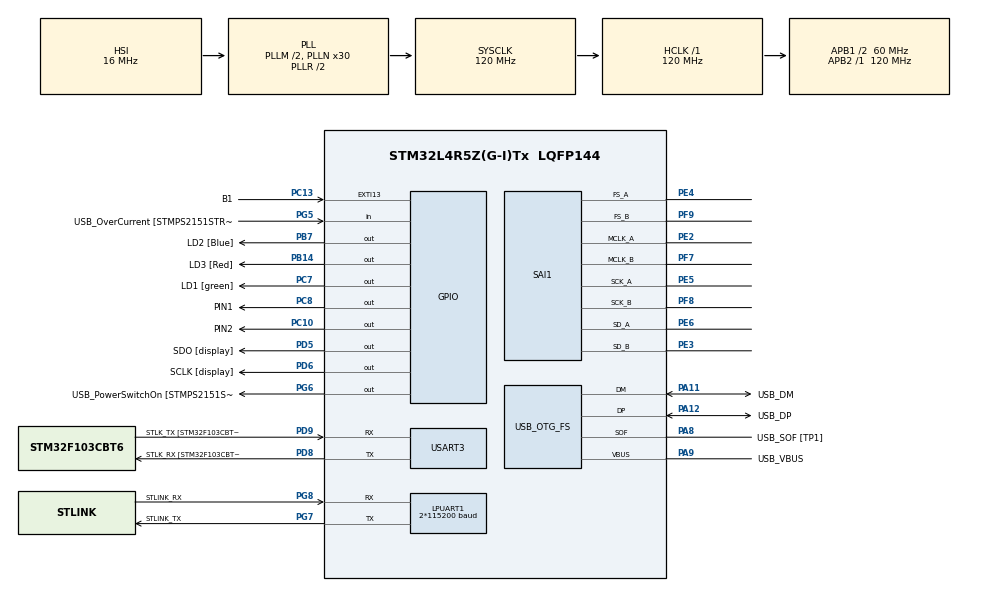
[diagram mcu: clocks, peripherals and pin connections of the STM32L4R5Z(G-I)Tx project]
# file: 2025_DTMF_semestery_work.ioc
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Dma.LPUART1_RX.0.Direction=DMA_PERIPH_TO_MEMORY
Dma.LPUART1_RX.0.EventEnable=DISABLE
Dma.LPUART1_RX.0.Instance=DMA2_Channel1
Dma.LPUART1_RX.0.MemDataAlignment=DMA_MDATAALIGN_BYTE
Dma.LPUART1_RX.0.MemInc=DMA_MINC_ENABLE
Dma.LPUART1_RX.0.Mode=DMA_NORMAL
Dma.LPUART1_RX.0.PeriphDataAlignment=DMA_PDATAALIGN_BYTE
Dma.LPUART1_RX.0.PeriphInc=DMA_PINC_DISABLE
Dma.LPUART1_RX.0.Polarity=HAL_DMAMUX_REQUEST_GEN_RISING
Dma.LPUART1_RX.0.Priority=DMA_PRIORITY_LOW
Dma.LPUART1_RX.0.RequestNumber=1
Dma.LPUART1_RX.0.SignalID=NONE
Dma.LPUART1_RX.0.SyncEnable=DISABLE
Dma.LPUART1_RX.0.SyncPolarity=HAL_DMAMUX_SYNC_NO_EVENT
Dma.LPUART1_RX.0.SyncRequestNumber=1
Dma.LPUART1_RX.0.SyncSignalID=NONE
Dma.LPUART1_TX.1.Direction=DMA_MEMORY_TO_PERIPH
Dma.LPUART1_TX.1.EventEnable=DISABLE
Dma.LPUART1_TX.1.Instance=DMA2_Channel2
Dma.LPUART1_TX.1.MemDataAlignment=DMA_MDATAALIGN_BYTE
Dma.LPUART1_TX.1.MemInc=DMA_MINC_ENABLE
Dma.LPUART1_TX.1.Mode=DMA_NORMAL
Dma.LPUART1_TX.1.PeriphDataAlignment=DMA_PDATAALIGN_BYTE
Dma.LPUART1_TX.1.PeriphInc=DMA_PINC_DISABLE
Dma.LPUART1_TX.1.Polarity=HAL_DMAMUX_REQUEST_GEN_RISING
Dma.LPUART1_TX.1.Priority=DMA_PRIORITY_LOW
Dma.LPUART1_TX.1.RequestNumber=1
Dma.LPUART1_TX.1.SignalID=NONE
Dma.LPUART1_TX.1.SyncEnable=DISABLE
Dma.LPUART1_TX.1.SyncPolarity=HAL_DMAMUX_SYNC_NO_EVENT
Dma.LPUART1_TX.1.SyncRequestNumber=1
Dma.LPUART1_TX.1.SyncSignalID=NONE
Dma.MEMTOMEM.2.Direction=DMA_MEMORY_TO_MEMORY
Dma.MEMTOMEM.2.EventEnable=DISABLE
Dma.MEMTOMEM.2.Instance=DMA1_Channel1
Dma.MEMTOMEM.2.MemDataAlignment=DMA_MDATAALIGN_WORD
Dma.MEMTOMEM.2.MemInc=DMA_MINC_ENABLE
Dma.MEMTOMEM.2.Mode=DMA_NORMAL
Dma.MEMTOMEM.2.PeriphDataAlignment=DMA_PDATAALIGN_WORD
Dma.MEMTOMEM.2.PeriphInc=DMA_PINC_ENABLE
Dma.MEMTOMEM.2.Polarity=HAL_DMAMUX_REQUEST_GEN_RISING
Dma.MEMTOMEM.2.Priority=DMA_PRIORITY_LOW
Dma.MEMTOMEM.2.RequestNumber=1
Dma.MEMTOMEM.2.SignalID=NONE
Dma.MEMTOMEM.2.SyncEnable=DISABLE
Dma.MEMTOMEM.2.SyncPolarity=HAL_DMAMUX_SYNC_NO_EVENT
Dma.MEMTOMEM.2.SyncRequestNumber=1
Dma.MEMTOMEM.2.SyncSignalID=NONE
Dma.Request0=LPUART1_RX
Dma.Request1=LPUART1_TX
Dma.Request2=MEMTOMEM
Dma.Request3=SAI1_A
Dma.Request4=SAI1_B
Dma.SAI1_A.3.Direction=DMA_MEMORY_TO_PERIPH
Dma.SAI1_A.3.EventEnable=DISABLE
Dma.SAI1_A.3.Instance=DMA1_Channel3
Dma.SAI1_A.3.MemDataAlignment=DMA_MDATAALIGN_WORD
Dma.SAI1_A.3.MemInc=DMA_MINC_ENABLE
Dma.SAI1_A.3.Mode=DMA_CIRCULAR
Dma.SAI1_A.3.PeriphDataAlignment=DMA_PDATAALIGN_WORD
Dma.SAI1_A.3.PeriphInc=DMA_PINC_DISABLE
Dma.SAI1_A.3.Polarity=HAL_DMAMUX_REQUEST_GEN_RISING
Dma.SAI1_A.3.Priority=DMA_PRIORITY_HIGH
Dma.SAI1_A.3.RequestNumber=1
Dma.SAI1_A.3.SignalID=NONE
Dma.SAI1_A.3.SyncEnable=DISABLE
Dma.SAI1_A.3.SyncPolarity=HAL_DMAMUX_SYNC_NO_EVENT
Dma.SAI1_A.3.SyncRequestNumber=1
Dma.SAI1_A.3.SyncSignalID=NONE
Dma.SAI1_B.4.Direction=DMA_PERIPH_TO_MEMORY
Dma.SAI1_B.4.EventEnable=DISABLE
Dma.SAI1_B.4.Instance=DMA1_Channel4
Dma.SAI1_B.4.MemDataAlignment=DMA_MDATAALIGN_WORD
Dma.SAI1_B.4.MemInc=DMA_MINC_ENABLE
Dma.SAI1_B.4.Mode=DMA_CIRCULAR
Dma.SAI1_B.4.PeriphDataAlignment=DMA_PDATAALIGN_WORD
Dma.SAI1_B.4.PeriphInc=DMA_PINC_DISABLE
Dma.SAI1_B.4.Polarity=HAL_DMAMUX_REQUEST_GEN_RISING
Dma.SAI1_B.4.Priority=DMA_PRIORITY_HIGH
Dma.SAI1_B.4.RequestNumber=1
Dma.SAI1_B.4.SignalID=NONE
Dma.SAI1_B.4.SyncEnable=DISABLE
Dma.SAI1_B.4.SyncPolarity=HAL_DMAMUX_SYNC_NO_EVENT
Dma.SAI1_B.4.SyncRequestNumber=1
Dma.SAI1_B.4.SyncSignalID=NONE
LPUART1.BaudRate=2*115200
LPUART1.WordLength=UART_WORDLENGTH_8B
Mcu.Family=STM32L4
Mcu.Name=STM32L4R5Z(G-I)Tx
Mcu.Package=LQFP144
NVIC.DMA1_Channel1_IRQn=true\:0\:0\:false\:false\:true\:false\:true\:true
NVIC.DMA1_Channel3_IRQn=true\:0\:0\:false\:false\:true\:false\:true\:true
NVIC.DMA1_Channel4_IRQn=true\:0\:0\:false\:false\:true\:false\:true\:true
NVIC.DMA2_Channel1_IRQn=true\:0\:0\:false\:false\:true\:true\:true\:true
NVIC.DMA2_Channel2_IRQn=true\:0\:0\:false\:false\:true\:false\:true\:true
NVIC.EXTI15_10_IRQn=true\:0\:0\:false\:false\:true\:true\:true\:true
NVIC.LPUART1_IRQn=true\:0\:0\:false\:false\:true\:true\:true\:true
NVIC.PriorityGroup=NVIC_PRIORITYGROUP_4
NVIC.SAI1_IRQn=true\:0\:0\:false\:false\:true\:true\:true\:true
NVIC.TIM6_DAC_IRQn=true\:0\:0\:false\:false\:true\:true\:true\:true
NVIC.TIM7_IRQn=true\:0\:0\:false\:false\:true\:true\:true\:true
PA10.GPIO_Label=USB_ID
PA10.Signal=USB_OTG_FS_ID
PA11.GPIO_Label=USB_DM
PA11.Mode=Device_Only
PA11.Signal=USB_OTG_FS_DM
PA12.GPIO_Label=USB_DP
PA12.Mode=Device_Only
PA12.Signal=USB_OTG_FS_DP
PA13\ (JTMS/SWDIO).GPIO_Label=TMS
PA13\ (JTMS/SWDIO).Mode=Trace_Asynchronous_SW
PA13\ (JTMS/SWDIO).Signal=SYS_JTMS-SWDIO
PA14\ (JTCK/SWCLK).GPIO_Label=TCK
PA14\ (JTCK/SWCLK).Mode=Trace_Asynchronous_SW
PA14\ (JTCK/SWCLK).Signal=SYS_JTCK-SWCLK
PA8.GPIO_Label=USB_SOF [TP1]
PA8.Mode=Activate_SOF_FS
PA8.Signal=USB_OTG_FS_SOF
PA9.GPIO_Label=USB_VBUS
PA9.Mode=Activate_VBUS
PA9.Signal=USB_OTG_FS_VBUS
PB14.GPIO_Label=LD3 [Red]
PB14.Signal=GPIO_Output
PB3\ (JTDO/TRACESWO).GPIO_Label=SWO
PB3\ (JTDO/TRACESWO).Mode=Trace_Asynchronous_SW
PB3\ (JTDO/TRACESWO).Signal=SYS_JTDO-SWO
PB7.GPIO_Label=LD2 [Blue]
PB7.Signal=GPIO_Output
PC10.GPIO_Label=PIN2
PC10.Signal=GPIO_Output
PC13.GPIO_Label=B1
PC13.GPIO_ModeDefaultEXTI=GPIO_MODE_IT_RISING_FALLING
PC13.Signal=GPXTI13
PC14-OSC32_IN\ (PC14).Mode=LSE-External-Oscillator
PC14-OSC32_IN\ (PC14).Signal=RCC_OSC32_IN
PC15-OSC32_OUT\ (PC15).Mode=LSE-External-Oscillator
PC15-OSC32_OUT\ (PC15).Signal=RCC_OSC32_OUT
PC7.GPIO_Label=LD1 [green]
PC7.Signal=GPIO_Output
PC8.GPIO_Label=PIN1
PC8.Signal=GPIO_Output
PD5.GPIO_Label=SDO [display]
PD5.GPIO_ModeDefaultOutputPP=GPIO_MODE_OUTPUT_OD
PD5.GPIO_PuPd=GPIO_NOPULL
PD5.GPIO_Speed=GPIO_SPEED_FREQ_VERY_HIGH
PD5.PinState=GPIO_PIN_RESET
PD5.Signal=GPIO_Output
PD6.GPIO_Label=SCLK [display]
PD6.GPIO_ModeDefaultOutputPP=GPIO_MODE_OUTPUT_OD
PD6.GPIO_PuPd=GPIO_NOPULL
PD6.GPIO_Speed=GPIO_SPEED_FREQ_VERY_HIGH
PD6.Signal=GPIO_Output
PD8.GPIO_Label=STLK_RX [STM32F103CBT6_PA3]
PD8.Mode=Asynchronous
PD8.Signal=USART3_TX
PD9.GPIO_Label=STLK_TX [STM32F103CBT6_PA2]
PD9.Mode=Asynchronous
PD9.Signal=USART3_RX
PE2.Mode=SAI_A_MasterWithClock
PE2.Signal=SAI1_MCLK_A
PE3.Mode=SAI_B_MasterWithClock
PE3.Signal=SAI1_SD_B
PE4.Mode=SAI_A_MasterWithClock
PE4.Signal=SAI1_FS_A
PE5.Mode=SAI_A_MasterWithClock
PE5.Signal=SAI1_SCK_A
PE6.Mode=SAI_A_MasterWithClock
PE6.Signal=SAI1_SD_A
PF7.Mode=SAI_B_MasterWithClock
PF7.Signal=SAI1_MCLK_B
PF8.Mode=SAI_B_MasterWithClock
PF8.Signal=SAI1_SCK_B
PF9.Mode=SAI_B_MasterWithClock
PF9.Signal=SAI1_FS_B
PG5.GPIO_Label=USB_OverCurrent [STMPS2151STR_FAULT]
PG5.Signal=GPIO_Input
PG6.GPIO_Label=USB_PowerSwitchOn [STMPS2151STR_EN]
PG6.Signal=GPIO_Output
PG7.GPIO_Label=STLINK_TX
PG7.Mode=Asynchronous
PG7.Signal=LPUART1_TX
PG8.GPIO_Label=STLINK_RX
PG8.Mode=Asynchronous
PG8.Signal=LPUART1_RX
PH0-OSC_IN\ (PH0).Signal=RCC_OSC_IN
PH1-OSC_OUT\ (PH1).Signal=RCC_OSC_OUT
ProjectManager.HeapSize=0x200
ProjectManager.StackSize=0x400
ProjectManager.TargetToolchain=STM32CubeIDE
RCC.48MHZClocksFreq_Value=24000000
RCC.ADCFreq_Value=153600000
RCC.AHBFreq_Value=120000000
RCC.APB1CLKDivider=RCC_HCLK_DIV2
RCC.APB1Freq_Value=60000000
RCC.APB1TimFreq_Value=120000000
RCC.APB2Freq_Value=120000000
RCC.APB2TimFreq_Value=120000000
RCC.CK48CLockSelection=RCC_USBCLKSOURCE_HSI48
RCC.CortexFreq_Value=120000000
RCC.HCLKFreq_Value=120000000
RCC.HSE_VALUE=8000000
RCC.HSI48_VALUE=48000000
RCC.HSI_VALUE=16000000
RCC.MSI_VALUE=4000000
RCC.PLLM1=2
RCC.PLLM2=5
RCC.PLLMUL=RCC_PLL_MUL9
RCC.PLLN=30
RCC.PLLSAI1N=96
RCC.PLLSAI1P=RCC_PLLP_DIV25
RCC.PLLSourceVirtual=RCC_PLLSOURCE_HSI
RCC.PRESCALERUSB=RCC_USBCLKSOURCE_PLL_DIV1_5
RCC.SYSCLKFreq_VALUE=120000000
RCC.SYSCLKSource=RCC_SYSCLKSOURCE_PLLCLK
RCC.SYSCLKSourceVirtual=RCC_SYSCLKSOURCE_PLLCLK
RCC.USBFreq_Value=48000000
RCC.VCOOutputFreq_Value=240000000
SAI1.AudioFrequency-SAI_A_MasterWithClock=SAI_AUDIO_FREQUENCY_8K
SAI1.AudioFrequency-SAI_B_MasterWithClock=SAI_AUDIO_FREQUENCY_8K
SAI1.AudioMode-SAI_B_MasterWithClock=SAI_MODEMASTER_RX
SAI1.BasicDataSize-SAI_A_MasterWithClock=SAI_PROTOCOL_DATASIZE_24BIT
SAI1.BasicDataSize-SAI_B_MasterWithClock=SAI_PROTOCOL_DATASIZE_24BIT
SAI1.ErrorAudioFreq-SAI_A_MasterWithClock=0.0 %
SAI1.ErrorAudioFreq-SAI_B_MasterWithClock=0.0 %
SAI1.InitProtocol-SAI_A_MasterWithClock=Enable
SAI1.InitProtocol-SAI_B_MasterWithClock=Enable
SAI1.Instance-SAI_A_MasterWithClock=SAI$Index_Block_A
SAI1.Instance-SAI_B_MasterWithClock=SAI$Index_Block_B
SAI1.MClockEnable-SAI_A_MasterWithClock=SAI_MASTERCLOCK_ENABLE
SAI1.MClockEnable-SAI_B_MasterWithClock=SAI_MASTERCLOCK_ENABLE
SAI1.MonoStereoMode-SAI_A_MasterWithClock=SAI_MONOMODE
SAI1.MonoStereoMode-SAI_B_MasterWithClock=SAI_MONOMODE
SAI1.RealAudioFreq-SAI_A_MasterWithClock=8.0 KHz
SAI1.RealAudioFreq-SAI_B_MasterWithClock=8.0 KHz
SAI1.VirtualMode-SAI_A_MasterWithClock=VM_MASTER
SAI1.VirtualMode-SAI_B_MasterWithClock=VM_MASTER
SAI1.VirtualProtocol-SAI_A_BASIC=VM_BASIC_PROTOCOL
SAI1.VirtualProtocol-SAI_B_BASIC=VM_BASIC_PROTOCOL
STMicroelectronics.X-CUBE-ALGOBUILD.1.4.0.LibraryCcDSPOoLibraryJjDSPOoLibrary=true
TIM6.Period=12000
TIM6.Prescaler=1000
TIM7.AutoReloadPreload=TIM_AUTORELOAD_PRELOAD_DISABLE
TIM7.Period=10
TIM7.Prescaler=120-1
USART3.VirtualMode-Asynchronous=VM_ASYNC
USB_OTG_FS.VirtualMode=Device_Only
VP_SAI1_VP_$IpInstance_SAIA_SAI_BASIC.Mode=SAI_A_BASIC
VP_SAI1_VP_$IpInstance_SAIB_SAI_BASIC.Mode=SAI_B_BASIC
VP_STMicroelectronics.X-CUBE-ALGOBUILD_VS_DSPOoLibraryJjLibrary_1.4.0_1.4.0.Mode=DSPOoLibraryJjLibrary
VP_TIM5_VS_ClockSourceINT.Mode=Internal
VP_TIM6_VS_ClockSourceINT.Mode=Enable_Timer
VP_TIM7_VS_ClockSourceINT.Mode=Enable_Timer
board=NUCLEO-L4R5ZI

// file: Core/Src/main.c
/* USER CODE BEGIN Header */
/**
 ******************************************************************************
 * @file           : main.c
 * @brief          : DTMF Detektor a Generátor (STM32 SAI + Goertzel)
 *
 * Popis funkčnosti:
 * 1. Přijímá audio (8kHz, 24-bit) přes I2S/SAI pomocí DMA (Circular buffer).
 * 2. Počítá Goertzelův algoritmus pro detekci DTMF tónů.
 * 3. Zobrazuje výsledky na TM1637 displeji (asynchronně).
 * 4. Komunikuje přes UART s PC.
 * 5. Umí generovat DTMF tóny zpět přes I2S/SAI do výstupu.
 * @author         : Karel Najman
 * @date           : 2025-12-20
 ******************************************************************************
 */
/* USER CODE END Header */
#include "main.h"

/* USER CODE BEGIN PD */
#define MAX_24BIT 8388607.0f // Maximální hodnota pro 24-bit signál
#define DTMF_THRESHOLD 20.0f // Experimentálně nastavená prahová hodnota pro detekci tónu
#define DTMF_BLOCK_SIZE 2048 // při vzorkovací frekvenci 8kHz to dává cca 0.256s dat na jeden blok
#define FS 8000              // vzorkovací frekvence

/* USER CODE END PD */

UART_HandleTypeDef hlpuart1;
UART_HandleTypeDef huart3;
DMA_HandleTypeDef hdma_lpuart1_rx;
DMA_HandleTypeDef hdma_lpuart1_tx;

SAI_HandleTypeDef hsai_BlockA1;
SAI_HandleTypeDef hsai_BlockB1;
DMA_HandleTypeDef hdma_sai1_a;
DMA_HandleTypeDef hdma_sai1_b;

TIM_HandleTypeDef htim5;
TIM_HandleTypeDef htim6;
TIM_HandleTypeDef htim7;

PCD_HandleTypeDef hpcd_USB_OTG_FS;

DMA_HandleTypeDef hdma_memtomem_dma1_channel1;

void SystemClock_Config(void);
void PeriphCommonClock_Config(void);
static void MX_GPIO_Init(void);
static void MX_DMA_Init(void);
static void MX_LPUART1_UART_Init(void);
static void MX_USART3_UART_Init(void);
static void MX_USB_OTG_FS_PCD_Init(void);
static void MX_TIM6_Init(void);
static void MX_TIM5_Init(void);
static void MX_SAI1_Init(void);
static void MX_TIM7_Init(void);
/* USER CODE BEGIN PFP */
void HAL_SAI_RxHalfCpltCallback(SAI_HandleTypeDef *hsai);
void HAL_SAI_RxCpltCallback(SAI_HandleTypeDef *hsai);
void HAL_SAI_TxCpltCallback(SAI_HandleTypeDef *hsai);
void Process_DTMF(int32_t *samples);
char DTMF_detect(int32_t *samples);
float Goertzel_algorithm(int target_freq, int32_t *samples);
void App_Logic(char detected_char, uint8_t mode);
void Prepare_DTMF_Tx(char key);
float Generate_Tone(float freq1, float freq2, float t);
void Test_Display(void);
void Display_Data(char data);
/* USER CODE END PFP */

/* USER CODE BEGIN 0 */
int32_t rx_buffer[DTMF_BLOCK_SIZE]; // read buffer circular DMA
int32_t tx_buffer[DTMF_BLOCK_SIZE]; // transmit buffer

volatile uint8_t data_ready = 0;
volatile uint8_t is_transmitting = 0; // Blokuje detekci, když sami vysíláme (anti-loop)
int32_t *process_ptr = NULL;

/* Definice DTMF frekvencí (Standard ITU-T) */
const int low_freq[4] = {697, 770, 852, 941};
const int high_freq[4] = {1209, 1336, 1477, 1633};
uint8_t display_buffer[4] = {0, 0, 0, 0};

const char key_map[4][4] = {
    {'1', '2', '3', 'A'},
    {'4', '5', '6', 'B'},
    {'7', '8', '9', 'C'},
    {'*', '0', '#', 'D'}};

/* USER CODE END 0 */

int main(void)
{

  /* MCU Configuration--------------------------------------------------------*/

  /* Reset of all peripherals, Initializes the Flash interface and the Systick. */
  HAL_Init();

  /* Configure the system clock */
  SystemClock_Config();

  /* Configure the peripherals common clocks */
  PeriphCommonClock_Config();

  /* Initialize all configured peripherals */
  MX_GPIO_Init();
  MX_DMA_Init();
  MX_LPUART1_UART_Init();
  MX_USART3_UART_Init();
  MX_USB_OTG_FS_PCD_Init();
  MX_TIM6_Init();
  MX_TIM5_Init();
  MX_SAI1_Init();
  MX_TIM7_Init();
  /* USER CODE BEGIN 2 */

  // reset RX bufferu
  memset(rx_buffer, 0, sizeof(rx_buffer));
  data_ready = 0;

  // Spuštění příjmu audia přes DMA
  // HAL_SAI_Receive_DMA(&hsai_BlockB1, (uint8_t *)rx_buffer, sizeof(rx_buffer) / sizeof(int32_t));

  HAL_SAI_Receive_DMA(&hsai_BlockB1, (uint8_t *)rx_buffer, DTMF_BLOCK_SIZE);
  // Inicializace TM1637 displeje a vyčištění
  TM1637_Init(&htim7, SCLK_GPIO_Port, SCLK_Pin, SDO_GPIO_Port, SDO_Pin);
  TM1637_ClearDisplay();

  // Výpis startovací zprávy přes UART
  char test_msg[] = "Nucleo START\r\n";
  HAL_UART_Transmit(&hlpuart1, (uint8_t *)test_msg, strlen(test_msg), 100);

  /* USER CODE END 2 */

  /* Infinite loop */
  /* USER CODE BEGIN WHILE */

  while (1)
  {
    // Test_Display(); // Testovací animační funkce pro displej

    // --- ZPRACOVÁNÍ DAT ---
    // Čekáme, až nám DMA Callback nastaví vlajku 'data_ready'.
    if (data_ready)
    {
      data_ready = 0; // Smazat vlajku
      if (process_ptr != NULL)
      {
        // Spustit výpočet nad aktuálním blokem dat
        Process_DTMF(process_ptr);
      }
    }
    /* USER CODE END WHILE */

  }
}

void SystemClock_Config(void)
{
  RCC_OscInitTypeDef RCC_OscInitStruct = {0};
  RCC_ClkInitTypeDef RCC_ClkInitStruct = {0};

  /** Configure the main internal regulator output voltage
   */
  if (HAL_PWREx_ControlVoltageScaling(PWR_REGULATOR_VOLTAGE_SCALE1_BOOST) != HAL_OK)
  {
    Error_Handler();
  }

  /** Initializes the RCC Oscillators according to the specified parameters
   * in the RCC_OscInitTypeDef structure.
   */
  RCC_OscInitStruct.OscillatorType = RCC_OSCILLATORTYPE_HSI48 | RCC_OSCILLATORTYPE_HSI;
  RCC_OscInitStruct.HSIState = RCC_HSI_ON;
  RCC_OscInitStruct.HSI48State = RCC_HSI48_ON;
  RCC_OscInitStruct.HSICalibrationValue = RCC_HSICALIBRATION_DEFAULT;
  RCC_OscInitStruct.PLL.PLLState = RCC_PLL_ON;
  RCC_OscInitStruct.PLL.PLLSource = RCC_PLLSOURCE_HSI;
  RCC_OscInitStruct.PLL.PLLM = 2;
  RCC_OscInitStruct.PLL.PLLN = 30;
  RCC_OscInitStruct.PLL.PLLP = RCC_PLLP_DIV2;
  RCC_OscInitStruct.PLL.PLLQ = RCC_PLLQ_DIV2;
  RCC_OscInitStruct.PLL.PLLR = RCC_PLLR_DIV2;
  if (HAL_RCC_OscConfig(&RCC_OscInitStruct) != HAL_OK)
  {
    Error_Handler();
  }

  /** Initializes the CPU, AHB and APB buses clocks
   */
  RCC_ClkInitStruct.ClockType = RCC_CLOCKTYPE_HCLK | RCC_CLOCKTYPE_SYSCLK | RCC_CLOCKTYPE_PCLK1 | RCC_CLOCKTYPE_PCLK2;
  RCC_ClkInitStruct.SYSCLKSource = RCC_SYSCLKSOURCE_PLLCLK;
  RCC_ClkInitStruct.AHBCLKDivider = RCC_SYSCLK_DIV1;
  RCC_ClkInitStruct.APB1CLKDivider = RCC_HCLK_DIV2;
  RCC_ClkInitStruct.APB2CLKDivider = RCC_HCLK_DIV1;

  if (HAL_RCC_ClockConfig(&RCC_ClkInitStruct, FLASH_LATENCY_5) != HAL_OK)
  {
    Error_Handler();
  }
}

void PeriphCommonClock_Config(void)
{
  RCC_PeriphCLKInitTypeDef PeriphClkInit = {0};

  /** Initializes the peripherals clock
   */
  PeriphClkInit.PeriphClockSelection = RCC_PERIPHCLK_SAI1;
  PeriphClkInit.Sai1ClockSelection = RCC_SAI1CLKSOURCE_PLLSAI1;
  PeriphClkInit.PLLSAI1.PLLSAI1Source = RCC_PLLSOURCE_HSI;
  PeriphClkInit.PLLSAI1.PLLSAI1M = 5;
  PeriphClkInit.PLLSAI1.PLLSAI1N = 96;
  PeriphClkInit.PLLSAI1.PLLSAI1P = RCC_PLLP_DIV25;
  PeriphClkInit.PLLSAI1.PLLSAI1Q = RCC_PLLQ_DIV2;
  PeriphClkInit.PLLSAI1.PLLSAI1R = RCC_PLLR_DIV2;
  PeriphClkInit.PLLSAI1.PLLSAI1ClockOut = RCC_PLLSAI1_SAI1CLK;
  if (HAL_RCCEx_PeriphCLKConfig(&PeriphClkInit) != HAL_OK)
  {
    Error_Handler();
  }
}

static void MX_LPUART1_UART_Init(void)
{

  hlpuart1.Instance = LPUART1;
  hlpuart1.Init.BaudRate = 2 * 115200;
  hlpuart1.Init.WordLength = UART_WORDLENGTH_8B;
  hlpuart1.Init.StopBits = UART_STOPBITS_1;
  hlpuart1.Init.Parity = UART_PARITY_NONE;
  hlpuart1.Init.Mode = UART_MODE_TX_RX;
  hlpuart1.Init.HwFlowCtl = UART_HWCONTROL_NONE;
  hlpuart1.Init.OneBitSampling = UART_ONE_BIT_SAMPLE_DISABLE;
  hlpuart1.Init.ClockPrescaler = UART_PRESCALER_DIV1;
  hlpuart1.AdvancedInit.AdvFeatureInit = UART_ADVFEATURE_NO_INIT;
  hlpuart1.FifoMode = UART_FIFOMODE_DISABLE;
  if (HAL_UART_Init(&hlpuart1) != HAL_OK)
  {
    Error_Handler();
  }
  if (HAL_UARTEx_SetTxFifoThreshold(&hlpuart1, UART_TXFIFO_THRESHOLD_1_8) != HAL_OK)
  {
    Error_Handler();
  }
  if (HAL_UARTEx_SetRxFifoThreshold(&hlpuart1, UART_RXFIFO_THRESHOLD_1_8) != HAL_OK)
  {
    Error_Handler();
  }
  if (HAL_UARTEx_DisableFifoMode(&hlpuart1) != HAL_OK)
  {
    Error_Handler();
  }
}

static void MX_USART3_UART_Init(void)
{

  huart3.Instance = USART3;
  huart3.Init.BaudRate = 115200;
  huart3.Init.WordLength = UART_WORDLENGTH_8B;
  huart3.Init.StopBits = UART_STOPBITS_1;
  huart3.Init.Parity = UART_PARITY_NONE;
  huart3.Init.Mode = UART_MODE_TX_RX;
  huart3.Init.HwFlowCtl = UART_HWCONTROL_NONE;
  huart3.Init.OverSampling = UART_OVERSAMPLING_16;
  huart3.Init.OneBitSampling = UART_ONE_BIT_SAMPLE_DISABLE;
  huart3.Init.ClockPrescaler = UART_PRESCALER_DIV1;
  huart3.AdvancedInit.AdvFeatureInit = UART_ADVFEATURE_NO_INIT;
  if (HAL_UART_Init(&huart3) != HAL_OK)
  {
    Error_Handler();
  }
  if (HAL_UARTEx_SetTxFifoThreshold(&huart3, UART_TXFIFO_THRESHOLD_1_8) != HAL_OK)
  {
    Error_Handler();
  }
  if (HAL_UARTEx_SetRxFifoThreshold(&huart3, UART_RXFIFO_THRESHOLD_1_8) != HAL_OK)
  {
    Error_Handler();
  }
  if (HAL_UARTEx_DisableFifoMode(&huart3) != HAL_OK)
  {
    Error_Handler();
  }
}

static void MX_SAI1_Init(void)
{

  hsai_BlockA1.Instance = SAI1_Block_A;
  hsai_BlockA1.Init.AudioMode = SAI_MODEMASTER_TX;
  hsai_BlockA1.Init.Synchro = SAI_ASYNCHRONOUS;
  hsai_BlockA1.Init.OutputDrive = SAI_OUTPUTDRIVE_DISABLE;
  hsai_BlockA1.Init.NoDivider = SAI_MASTERDIVIDER_ENABLE;
  hsai_BlockA1.Init.FIFOThreshold = SAI_FIFOTHRESHOLD_EMPTY;
  hsai_BlockA1.Init.AudioFrequency = SAI_AUDIO_FREQUENCY_8K;
  hsai_BlockA1.Init.SynchroExt = SAI_SYNCEXT_DISABLE;
  hsai_BlockA1.Init.MonoStereoMode = SAI_MONOMODE;
  hsai_BlockA1.Init.CompandingMode = SAI_NOCOMPANDING;
  hsai_BlockA1.Init.TriState = SAI_OUTPUT_NOTRELEASED;
  if (HAL_SAI_InitProtocol(&hsai_BlockA1, SAI_I2S_STANDARD, SAI_PROTOCOL_DATASIZE_24BIT, 2) != HAL_OK)
  {
    Error_Handler();
  }
  hsai_BlockB1.Instance = SAI1_Block_B;
  hsai_BlockB1.Init.AudioMode = SAI_MODEMASTER_RX;
  hsai_BlockB1.Init.Synchro = SAI_ASYNCHRONOUS;
  hsai_BlockB1.Init.OutputDrive = SAI_OUTPUTDRIVE_DISABLE;
  hsai_BlockB1.Init.NoDivider = SAI_MASTERDIVIDER_ENABLE;
  hsai_BlockB1.Init.FIFOThreshold = SAI_FIFOTHRESHOLD_EMPTY;
  hsai_BlockB1.Init.AudioFrequency = SAI_AUDIO_FREQUENCY_8K;
  hsai_BlockB1.Init.SynchroExt = SAI_SYNCEXT_DISABLE;
  hsai_BlockB1.Init.MonoStereoMode = SAI_MONOMODE;
  hsai_BlockB1.Init.CompandingMode = SAI_NOCOMPANDING;
  if (HAL_SAI_InitProtocol(&hsai_BlockB1, SAI_I2S_STANDARD, SAI_PROTOCOL_DATASIZE_24BIT, 2) != HAL_OK)
  {
    Error_Handler();
  }
}

static void MX_TIM5_Init(void)
{

  TIM_ClockConfigTypeDef sClockSourceConfig = {0};
  TIM_MasterConfigTypeDef sMasterConfig = {0};

  htim5.Instance = TIM5;
  htim5.Init.Prescaler = 0;
  htim5.Init.CounterMode = TIM_COUNTERMODE_UP;
  htim5.Init.Period = 4294967295;
  htim5.Init.ClockDivision = TIM_CLOCKDIVISION_DIV1;
  htim5.Init.AutoReloadPreload = TIM_AUTORELOAD_PRELOAD_DISABLE;
  if (HAL_TIM_Base_Init(&htim5) != HAL_OK)
  {
    Error_Handler();
  }
  sClockSourceConfig.ClockSource = TIM_CLOCKSOURCE_INTERNAL;
  if (HAL_TIM_ConfigClockSource(&htim5, &sClockSourceConfig) != HAL_OK)
  {
    Error_Handler();
  }
  sMasterConfig.MasterOutputTrigger = TIM_TRGO_RESET;
  sMasterConfig.MasterSlaveMode = TIM_MASTERSLAVEMODE_DISABLE;
  if (HAL_TIMEx_MasterConfigSynchronization(&htim5, &sMasterConfig) != HAL_OK)
  {
    Error_Handler();
  }
}

static void MX_TIM6_Init(void)
{

  TIM_MasterConfigTypeDef sMasterConfig = {0};

  htim6.Instance = TIM6;
  htim6.Init.Prescaler = 1000;
  htim6.Init.CounterMode = TIM_COUNTERMODE_UP;
  htim6.Init.Period = 12000;
  htim6.Init.AutoReloadPreload = TIM_AUTORELOAD_PRELOAD_DISABLE;
  if (HAL_TIM_Base_Init(&htim6) != HAL_OK)
  {
    Error_Handler();
  }
  sMasterConfig.MasterOutputTrigger = TIM_TRGO_RESET;
  sMasterConfig.MasterSlaveMode = TIM_MASTERSLAVEMODE_DISABLE;
  if (HAL_TIMEx_MasterConfigSynchronization(&htim6, &sMasterConfig) != HAL_OK)
  {
    Error_Handler();
  }
}

static void MX_TIM7_Init(void)
{

  /* USER CODE BEGIN TIM7_Init 0 */
  __HAL_RCC_TIM7_CLK_ENABLE();
  /* USER CODE END TIM7_Init 0 */

  TIM_MasterConfigTypeDef sMasterConfig = {0};

  htim7.Instance = TIM7;
  htim7.Init.Prescaler = 120 - 1;
  htim7.Init.CounterMode = TIM_COUNTERMODE_UP;
  htim7.Init.Period = 10;
  htim7.Init.AutoReloadPreload = TIM_AUTORELOAD_PRELOAD_DISABLE;
  if (HAL_TIM_Base_Init(&htim7) != HAL_OK)
  {
    Error_Handler();
  }
  sMasterConfig.MasterOutputTrigger = TIM_TRGO_RESET;
  sMasterConfig.MasterSlaveMode = TIM_MASTERSLAVEMODE_DISABLE;
  if (HAL_TIMEx_MasterConfigSynchronization(&htim7, &sMasterConfig) != HAL_OK)
  {
    Error_Handler();
  }
  // /* USER CODE BEGIN TIM7_Init 2 */
  HAL_NVIC_SetPriority(TIM7_IRQn, 2, 0);
  // Povolí přerušení globálně
  HAL_NVIC_EnableIRQ(TIM7_IRQn);
  // /* USER CODE END TIM7_Init 2 */
}

static void MX_USB_OTG_FS_PCD_Init(void)
{

  hpcd_USB_OTG_FS.Instance = USB_OTG_FS;
  hpcd_USB_OTG_FS.Init.dev_endpoints = 6;
  hpcd_USB_OTG_FS.Init.speed = PCD_SPEED_FULL;
  hpcd_USB_OTG_FS.Init.phy_itface = PCD_PHY_EMBEDDED;
  hpcd_USB_OTG_FS.Init.Sof_enable = ENABLE;
  hpcd_USB_OTG_FS.Init.low_power_enable = DISABLE;
  hpcd_USB_OTG_FS.Init.lpm_enable = DISABLE;
  hpcd_USB_OTG_FS.Init.battery_charging_enable = ENABLE;
  hpcd_USB_OTG_FS.Init.use_dedicated_ep1 = DISABLE;
  hpcd_USB_OTG_FS.Init.vbus_sensing_enable = ENABLE;
  if (HAL_PCD_Init(&hpcd_USB_OTG_FS) != HAL_OK)
  {
    Error_Handler();
  }
}

static void MX_DMA_Init(void)
{

  /* DMA controller clock enable */
  __HAL_RCC_DMAMUX1_CLK_ENABLE();
  __HAL_RCC_DMA2_CLK_ENABLE();
  __HAL_RCC_DMA1_CLK_ENABLE();

  /* Configure DMA request hdma_memtomem_dma1_channel1 on DMA1_Channel1 */
  hdma_memtomem_dma1_channel1.Instance = DMA1_Channel1;
  hdma_memtomem_dma1_channel1.Init.Request = DMA_REQUEST_MEM2MEM;
  hdma_memtomem_dma1_channel1.Init.Direction = DMA_MEMORY_TO_MEMORY;
  hdma_memtomem_dma1_channel1.Init.PeriphInc = DMA_PINC_ENABLE;
  hdma_memtomem_dma1_channel1.Init.MemInc = DMA_MINC_ENABLE;
  hdma_memtomem_dma1_channel1.Init.PeriphDataAlignment = DMA_PDATAALIGN_WORD;
  hdma_memtomem_dma1_channel1.Init.MemDataAlignment = DMA_MDATAALIGN_WORD;
  hdma_memtomem_dma1_channel1.Init.Mode = DMA_NORMAL;
  hdma_memtomem_dma1_channel1.Init.Priority = DMA_PRIORITY_LOW;
  if (HAL_DMA_Init(&hdma_memtomem_dma1_channel1) != HAL_OK)
  {
    Error_Handler();
  }

  /* DMA interrupt init */
  /* DMA1_Channel1_IRQn interrupt configuration */
  HAL_NVIC_SetPriority(DMA1_Channel1_IRQn, 0, 0);
  HAL_NVIC_EnableIRQ(DMA1_Channel1_IRQn);
  /* DMA1_Channel3_IRQn interrupt configuration */
  HAL_NVIC_SetPriority(DMA1_Channel3_IRQn, 0, 0);
  HAL_NVIC_EnableIRQ(DMA1_Channel3_IRQn);
  /* DMA1_Channel4_IRQn interrupt configuration */
  HAL_NVIC_SetPriority(DMA1_Channel4_IRQn, 0, 0);
  HAL_NVIC_EnableIRQ(DMA1_Channel4_IRQn);
  /* DMA2_Channel1_IRQn interrupt configuration */
  HAL_NVIC_SetPriority(DMA2_Channel1_IRQn, 0, 0);
  HAL_NVIC_EnableIRQ(DMA2_Channel1_IRQn);
  /* DMA2_Channel2_IRQn interrupt configuration */
  HAL_NVIC_SetPriority(DMA2_Channel2_IRQn, 0, 0);
  HAL_NVIC_EnableIRQ(DMA2_Channel2_IRQn);
}

static void MX_GPIO_Init(void)
{
  GPIO_InitTypeDef GPIO_InitStruct = {0};

  /* GPIO Ports Clock Enable */
  __HAL_RCC_GPIOE_CLK_ENABLE();
  __HAL_RCC_GPIOC_CLK_ENABLE();
  __HAL_RCC_GPIOF_CLK_ENABLE();
  __HAL_RCC_GPIOH_CLK_ENABLE();
  __HAL_RCC_GPIOB_CLK_ENABLE();
  __HAL_RCC_GPIOD_CLK_ENABLE();
  __HAL_RCC_GPIOG_CLK_ENABLE();
  HAL_PWREx_EnableVddIO2();
  __HAL_RCC_GPIOA_CLK_ENABLE();

  /*Configure GPIO pin Output Level */
  HAL_GPIO_WritePin(GPIOB, LD3_Pin | LD2_Pin, GPIO_PIN_RESET);

  /*Configure GPIO pin Output Level */
  HAL_GPIO_WritePin(USB_PowerSwitchOn_GPIO_Port, USB_PowerSwitchOn_Pin, GPIO_PIN_RESET);

  /*Configure GPIO pin Output Level */
  HAL_GPIO_WritePin(GPIOC, LD1_Pin | PIN1_Pin | PIN2_Pin, GPIO_PIN_RESET);

  /*Configure GPIO pin Output Level */
  HAL_GPIO_WritePin(GPIOD, SDO_Pin | SCLK_Pin, GPIO_PIN_RESET);

  /*Configure GPIO pin : B1_Pin */
  GPIO_InitStruct.Pin = B1_Pin;
  GPIO_InitStruct.Mode = GPIO_MODE_IT_RISING_FALLING;
  GPIO_InitStruct.Pull = GPIO_NOPULL;
  HAL_GPIO_Init(B1_GPIO_Port, &GPIO_InitStruct);

  /*Configure GPIO pins : LD3_Pin LD2_Pin */
  GPIO_InitStruct.Pin = LD3_Pin | LD2_Pin;
  GPIO_InitStruct.Mode = GPIO_MODE_OUTPUT_PP;
  GPIO_InitStruct.Pull = GPIO_NOPULL;
  GPIO_InitStruct.Speed = GPIO_SPEED_FREQ_LOW;
  HAL_GPIO_Init(GPIOB, &GPIO_InitStruct);

  /*Configure GPIO pin : USB_OverCurrent_Pin */
  GPIO_InitStruct.Pin = USB_OverCurrent_Pin;
  GPIO_InitStruct.Mode = GPIO_MODE_INPUT;
  GPIO_InitStruct.Pull = GPIO_NOPULL;
  HAL_GPIO_Init(USB_OverCurrent_GPIO_Port, &GPIO_InitStruct);

  /*Configure GPIO pin : USB_PowerSwitchOn_Pin */
  GPIO_InitStruct.Pin = USB_PowerSwitchOn_Pin;
  GPIO_InitStruct.Mode = GPIO_MODE_OUTPUT_PP;
  GPIO_InitStruct.Pull = GPIO_NOPULL;
  GPIO_InitStruct.Speed = GPIO_SPEED_FREQ_LOW;
  HAL_GPIO_Init(USB_PowerSwitchOn_GPIO_Port, &GPIO_InitStruct);

  /*Configure GPIO pins : LD1_Pin PIN1_Pin PIN2_Pin */
  GPIO_InitStruct.Pin = LD1_Pin | PIN1_Pin | PIN2_Pin;
  GPIO_InitStruct.Mode = GPIO_MODE_OUTPUT_PP;
  GPIO_InitStruct.Pull = GPIO_NOPULL;
  GPIO_InitStruct.Speed = GPIO_SPEED_FREQ_LOW;
  HAL_GPIO_Init(GPIOC, &GPIO_InitStruct);

  /*Configure GPIO pins : SDO_Pin SCLK_Pin */
  GPIO_InitStruct.Pin = SDO_Pin | SCLK_Pin;
  GPIO_InitStruct.Mode = GPIO_MODE_OUTPUT_OD;
  GPIO_InitStruct.Pull = GPIO_NOPULL;
  GPIO_InitStruct.Speed = GPIO_SPEED_FREQ_VERY_HIGH;
  HAL_GPIO_Init(GPIOD, &GPIO_InitStruct);

  /* EXTI interrupt init*/
  HAL_NVIC_SetPriority(EXTI15_10_IRQn, 0, 0);
  HAL_NVIC_EnableIRQ(EXTI15_10_IRQn);

}

/* USER CODE BEGIN 4 */

/* --- DMA CALLBACKY --- */

// Zavolá se, když je plná PRVNÍ POLOVINA bufferu
void HAL_SAI_RxHalfCpltCallback(SAI_HandleTypeDef *hsai)
{
  process_ptr = &rx_buffer[0];
  data_ready = 1;
}

// Zavolá se, když je plná DRUHÁ POLOVINA bufferu
void HAL_SAI_RxCpltCallback(SAI_HandleTypeDef *hsai)
{
  process_ptr = &rx_buffer[DTMF_BLOCK_SIZE / 2]; // ukazatel na druhou polovinu bufferu
  data_ready = 1;
}

// Zavolá se, když skončí odesílání tónu (TX)
void HAL_SAI_TxCpltCallback(SAI_HandleTypeDef *hsai)
{
  is_transmitting = 0; // vysílání skončilo --> je možné znovu poslouchat
}

// Přerušení časovače pro obsluhu TM1637 a bliknutí LED2
void HAL_TIM_PeriodElapsedCallback(TIM_HandleTypeDef *htim)
{
  if (htim->Instance == TIM7)
  {
    // Obsluha TM1637 v přerušení časovače
    TM1637_Timer_Callback(htim);

    // blikání/svícení LED2 jako indikace běhu hlavní smyčky
    HAL_GPIO_TogglePin(LD2_GPIO_Port, LD2_Pin);
  }
}

// button click přerušení, vyčistění displeje
void HAL_GPIO_EXTI_Callback(uint16_t GPIO_Pin)
{
  if (GPIO_Pin == B1_Pin)
  {
    TM1637_ClearDisplay();
    // vyprázdnění bufferu
    for (int i = 0; i < 4; i++)
    {
      display_buffer[i] = 0;
    }
  }
}

/**
 * @brief Hlavní funkce pro zpracování bloku dat
 * @param samples Ukazatel na vzorky signálu
 */
void Process_DTMF(int32_t *samples)
{
  if (is_transmitting == 1) // pokud právě vysíláme, neděláme detekci
    return;

  static uint32_t last_success_time = 0;
  static char last_char = 0;

  char current_char = DTMF_detect(samples); // detekce DTMF znaku

  if (current_char != '\0') // pokud byl detekován platný znak
  {
    uint32_t now = HAL_GetTick();
    // Ochrana proti opakované detekci téhož znaku během krátké doby
    if (current_char == last_char && (now - last_success_time < 300))
    {
      return;
    }
    last_char = current_char;
    last_success_time = now;

    App_Logic(current_char, 1);
  }
  else
  {
    last_char = '\0'; // reset posledního znaku při tichu
  }
}

/**
 * @brief Goertzelův algoritmus
 * Vypočítá energii (magnitudu) pro jednu konkrétní frekvenci.
 * @param target_freq Cílová frekvence pro detekci
 * @param samples Ukazatel na vzorky signálu
 * @return Magnituda (energie) na cílové frekvenci
 */
float Goertzel_algorithm(int target_freq, int32_t *samples)
{
  float coeff, Q0, Q1, Q2;
  float magnitude;

  Q1 = 0.0f;
  Q2 = 0.0f;

  coeff = 2.0f * arm_cos_f32(2.0f * M_PI * target_freq / (float)FS);

  for (int j = 0; j < DTMF_BLOCK_SIZE / 2; j++) // 2048 / 2 = 1024 vzorků
  {
    float sample_norm = 0;
    // Normalizace 24bit signálu na float
    if (0x00800000 & samples[j]) // záporné číslo
    {
      sample_norm = (0xFF000000 | samples[j]); // sign extend
    }
    else
    {
      sample_norm = (0x00FFFFFF & samples[j]); // kladné číslo
    }

    Q0 = (coeff * Q1) - Q2 + sample_norm;
    Q2 = Q1;
    Q1 = Q0;
  }

  magnitude = (Q1 * Q1) + (Q2 * Q2) - (coeff * Q1 * Q2);

  return magnitude;
}

/**
 * @brief Detekce DTMF znaku v bloku vzorků
 * @param samples Ukazatel na vzorky signálu
 * @return Detekovaný DTMF znak nebo '\0' pokud žádný znak nebyl detekován
 */
char DTMF_detect(int32_t *samples)
{
  char detected_char = '\0'; // Výchozí hodnota - "žádný" znak
  float magnitude;

  // --- 1. Hledání nejsilnější Nízké frekvence ---
  float max_mag_low = 0.0f;
  int max_ind_low = -1;

  for (int i = 0; i < 4; i++)
  {
    magnitude = Goertzel_algorithm(low_freq[i], samples);

    if (magnitude > max_mag_low)
    {
      max_mag_low = magnitude;
      max_ind_low = i;
    }
  }

  // --- 2. Hledání nejsilnější Vysoké frekvence ---
  float max_mag_high = 0.0f;
  int max_ind_high = -1;

  for (int i = 0; i < 4; i++)
  {
    magnitude = Goertzel_algorithm(high_freq[i], samples);

    if (magnitude > max_mag_high)
    {
      max_mag_high = magnitude;
      max_ind_high = i;
    }
  }

  // --- 3. Filtrace Šumu ---
  // Pokud ani nejsilnější tóny nepřekročí práh, je to šum.
  if (max_mag_low < DTMF_THRESHOLD || max_mag_high < DTMF_THRESHOLD)
  {
    return '\0'; // Príliš slabé = Ticho
  }

  // --- 4. Twist Check (Kontrola poměru) ---
  // Ověřuje, zda jsou obě frekvence (L a H) zhruba stejně silné.
  // Brání falešné detekci při pískání nebo jednofrekvenčním rušení.
  float ratio;
  if (max_mag_high > 0)
    ratio = max_mag_low / max_mag_high;
  else
    ratio = 999.0f; // ochrana proti dělení nulou

  // tolerance 4:1
  if (ratio > 4.0f || ratio < 0.25f)
    return '\0';

  // --- 5. Úspěšná detekce ---
  if (max_ind_low != -1 && max_ind_high != -1)
    detected_char = key_map[max_ind_low][max_ind_high];

  return detected_char;
}
/**
 * @brief Aplikační logika
 * @param detected_char Detekovaný DTMF znak
 * @param mode Režim operace (1 = zobrazit na displeji, a vysílá, 2 = vysílat DTMF tón, default = nic)
 * Co se stane, když je detekován znak.
 */
void App_Logic(char detected_char, uint8_t mode)
{
  char char_to_send = detected_char;

  // výpis detekovaného znaku přes UART
  char msg[32];
  sprintf(msg, "Detekovany znak: %c\r\n", char_to_send);
  HAL_UART_Transmit(&hlpuart1, (uint8_t *)msg, strlen(msg), 10);

  switch (mode)
  {
  case 1:
    /* zobrazí na displaji */
    Display_Data(detected_char);
  case 2:
    /* echo DTMF tón */
    Prepare_DTMF_Tx(char_to_send);
    is_transmitting = 1; // vysílání

    // Spustit přenos přes DMA
    HAL_SAI_Transmit_DMA(&hsai_BlockA1, (uint8_t *)tx_buffer, sizeof(tx_buffer) / sizeof(int32_t));
    break;

  default:
    break;
  }
}

/**
 * @brief Připraví DTMF tón pro vysílání
 * @param key DTMF znak k vysílání
 */
void Prepare_DTMF_Tx(char key)
{
  float key_low_f = 0.0f;
  float key_high_f = 0.0f;
  uint8_t found = 0;

  for (int x = 0; x < 4; x++)
  {
    for (int y = 0; y < 4; y++)
    {
      if (key == key_map[x][y])
      {
        key_low_f = (float)low_freq[x];
        key_high_f = (float)high_freq[y];
        found = 1;
        break; // pro rychlejší ukončení vnořené smyčky
      }
    }
    if (found)
      break; // pro rychlejší ukončení vnější smyčky
  }

  for (int n = 0; n < DTMF_BLOCK_SIZE; n++)
  {
    float f_t = (float)n / (float)FS; // časová osa

    // Pokud frekvence nenajde, key_low_f a key_high_f zůstanou 0.0f (ticho)
    float sample = Generate_Tone(key_low_f, key_high_f, f_t);

    int32_t pcm_sample = 0;
    pcm_sample = (int32_t)(sample * MAX_24BIT * 0.5f); // škálování na 24-bit PCM
    tx_buffer[n] = pcm_sample;
  }
}

/**
 * @brief Generuje DTMF tón kombinací dvou frekvencí
 * @param freq_1 První frekvence
 * @param freq_2 Druhá frekvence
 * @param t Čas
 * @return Hodnota vzorku tónu
 */
float Generate_Tone(float freq_1, float freq_2, float t)
{
  return arm_sin_f32(2.0f * PI * freq_1 * t) + arm_sin_f32(2.0f * PI * freq_2 * t);
}

/**
 * @brief Testovací funkce pro displej
 * Zobrazuje střídavě horní, střední a spodní segmenty na všech 4 segmentech.
 */
void Test_Display(void)
{
  static uint32_t last_time = 0;
  if (HAL_GetTick() - last_time > 1000) // každou 1 sekundu
  {
    last_time = HAL_GetTick();
    static uint8_t toggle = 0;

    uint8_t segment_data[4];
    switch (toggle)
    {
    case 0:
      /* vrchni segemnty */
      segment_data[0] = 0x01;
      segment_data[1] = 0x01;
      segment_data[2] = 0x01;
      segment_data[3] = 0x01;
      toggle = 1;
      break;
    case 1:
      /* střední segmenty */
      segment_data[0] = 0x40;
      segment_data[1] = 0x40;
      segment_data[2] = 0x40;
      segment_data[3] = 0x40;
      toggle = 2;
      break;

    default:
      /*spodní segmenty*/
      segment_data[0] = 0x08;
      segment_data[1] = 0x08;
      segment_data[2] = 0x08;
      segment_data[3] = 0x08;
      toggle = 0;
      break;
    }
    TM1637_Update_Async(segment_data, 4);
  }
}

/**
 * @brief Zobrazí znak na displeji
 * Posune stávající znaky doleva a přidá nový znak na konec.
 * @param data Znak k zobrazení
 */
void Display_Data(char data)
{
  // Shift aktuálních znaků doleva
  display_buffer[0] = display_buffer[1];
  display_buffer[1] = display_buffer[2];
  display_buffer[2] = display_buffer[3];
  // Příchozí znak nakonec
  display_buffer[3] = TM1637_CharToSegment(data);
  TM1637_Update_Async(display_buffer, 4);
}
/* USER CODE END 4 */

void Error_Handler(void)
{
  __disable_irq();
  while (1)
  {
  }
}
